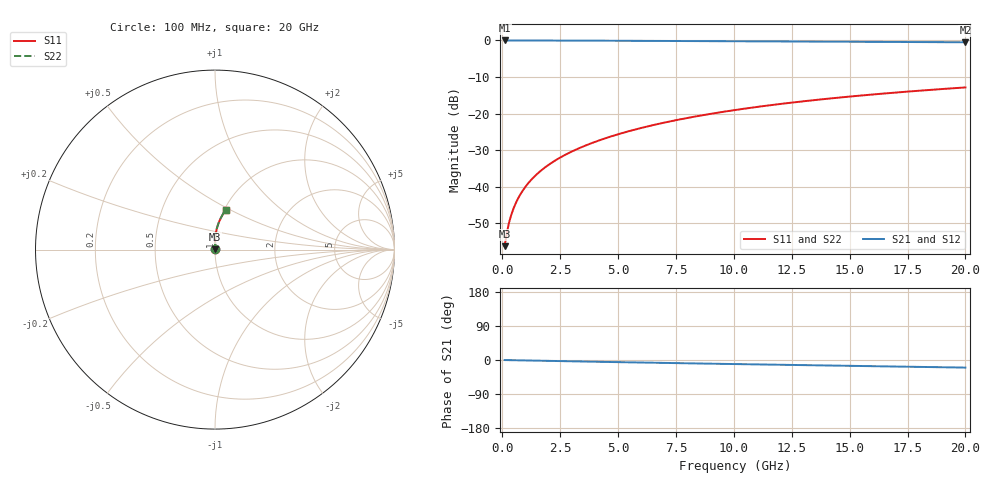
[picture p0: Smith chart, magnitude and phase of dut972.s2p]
! Touchstone file exported from HFSS 2024.1.0
!  File:  C:/UserFiles/LocalFiles/RDL_TSV_Batchsim/temp_RDL_top_972_1779938887.aedt
!  Generated:  11:30:40 AM May 28, 2026
!  Design:  RDL_top
!  Project:  temp_RDL_top_972_1779938887
!  Setup:  Setup1
!  Solution:  Sweep
! Variables:
!  dtsv = 10.80580581um
!  hbump = 3um
!  htsv = 52.99um
!  ldown = 100um
!  lrdl = 237.27um
!  p = 40
!  p1 = 58.67um
!  rhole = 1um
!  t = 450um
!  tdown = 3.915915916um
!  trdl = 3.87um
!  wdown = 15.38538539um
!  wrdl = 23.86um
# GHz S MA R 50.000000
! Terminal data exported
! Port[1] = Box2_T1
! Port[2] = Box2_T2
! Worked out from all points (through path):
!   200 points, 100 MHz to 20 GHz, reference 50 ohm
!   highest |S21| = -0.01 dB at 100 MHz (marker M1); lowest = -0.5 dB at 20 GHz (marker M2)
!   group delay of S21, straight-line fit = 2.74 ps
!   lowest |S11| = -56.3 dB at 100 MHz (marker M3), VSWR 1.00, Z = 50.1 + j0.106 ohm
!   |S11| at or under -10 dB: start of sweep to end of sweep
!   |S22| runs from -56.3 to -12.9 dB; largest |S21 - S12| = 7.2e-15
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0.1  0.001539 43.6  0.9989 -0.1  0.9989 -0.1  0.001539 43.6
! Gamma 0 0 0 0
! Port Impedance 50 0 50 0
0.2  0.002389 60.8  0.9988 -0.2  0.9988 -0.2  0.002389 60.8
0.3  0.003306 68.5  0.9987 -0.4  0.9987 -0.4  0.003306 68.5
0.4  0.004238 72.9  0.9987 -0.5  0.9987 -0.5  0.004238 72.9
0.5  0.005179 75.9  0.9986 -0.6  0.9986 -0.6  0.005179 75.9
0.6  0.006127 78.1  0.9985 -0.7  0.9985 -0.7  0.006127 78.1
0.8  0.008044 81.0  0.9984 -0.9  0.9984 -0.9  0.008044 81.0
1.1  0.01096 83.6  0.9981 -1.3  0.9981 -1.3  0.01096 83.6
1.5  0.0149 85.7  0.9976 -1.8  0.9976 -1.8  0.0149 85.7
1.8  0.0179 86.7  0.9972 -2.1  0.9972 -2.1  0.0179 86.7
2.1  0.02093 87.4  0.9967 -2.5  0.9967 -2.5  0.02093 87.4
2.7  0.0271 88.4  0.9955 -3.1  0.9955 -3.1  0.0271 88.4
3.5  0.03555 89.1  0.9936 -4.0  0.9936 -4.0  0.03555 89.1
4.2  0.04317 89.4  0.9918 -4.8  0.9918 -4.8  0.04317 89.4
5  0.0521 89.4  0.9895 -5.7  0.9895 -5.7  0.0521 89.4
5.9  0.06241 89.1  0.9868 -6.6  0.9868 -6.6  0.0624 89.1
6.8  0.07292 88.6  0.984 -7.5  0.984 -7.5  0.07292 88.6
8.4  0.09195 87.3  0.9791 -9.1  0.9791 -9.1  0.09195 87.3
10.1  0.1124 85.7  0.9739 -10.8  0.9739 -10.8  0.1124 85.7
13.4  0.1519 82.1  0.964 -13.9  0.964 -13.9  0.1519 82.1
16.7  0.1905 78.5  0.9539 -17.0  0.9539 -17.0  0.1905 78.5
20  0.2277 75.0  0.9433 -20.0  0.9433 -20.0  0.2277 75.0
